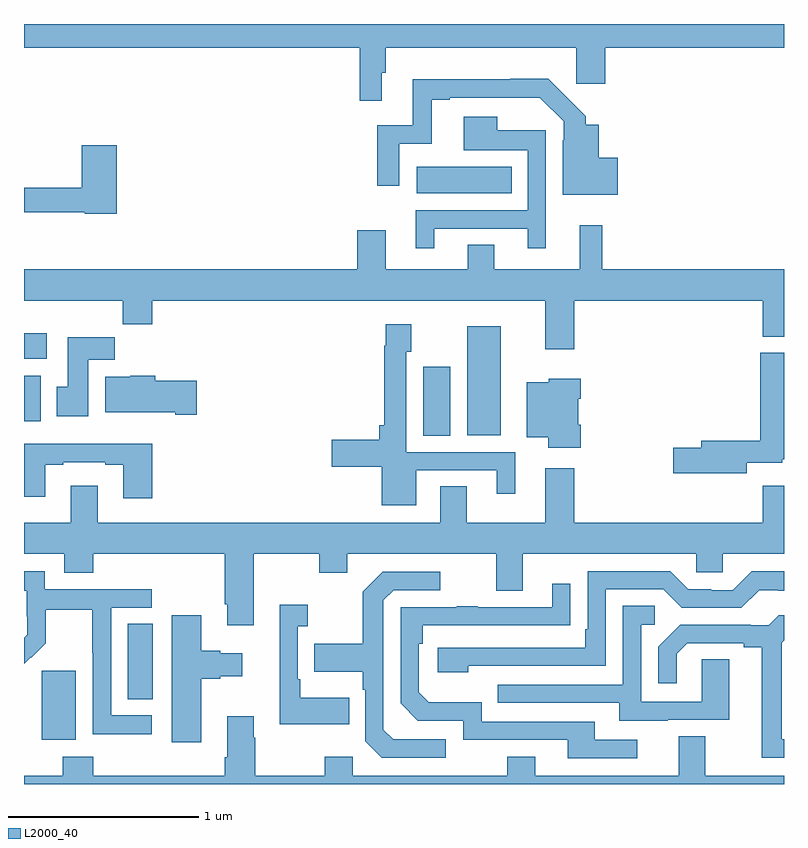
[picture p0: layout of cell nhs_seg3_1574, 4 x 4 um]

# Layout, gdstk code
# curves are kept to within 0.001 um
import gdstk
lib = gdstk.Library(unit=1e-6, precision=1e-09)
def R(c, l, rs):  # rectangles x0, y0, x1, y1
    for r in rs: c.add(gdstk.rectangle(r[:2], r[2:], *l))
def P(c, l, *ps):  # polygons
    for p in ps: c.add(gdstk.Polygon(p, *l))
L2000_40 = (2000, 40)

nhs_seg3_1574 = lib.new_cell('nhs_seg3_1574')
R(nhs_seg3_1574, L2000_40, [(193.094,670.634,193.273,670.995), (193.547,670.846,193.678,671.243), (195.101,672.232,195.244,672.595), (195.332,672.236,195.508,672.808), (193,672.308,193.087,672.55), (193,672.638,193.12,672.772), (195.066,673.508,195.566,673.648)])
P(nhs_seg3_1574, L2000_40, [(193,674.276),(194.767,674.276),(194.767,673.995),(194.884,673.995),(194.884,674.144),(194.903,674.144),(194.903,674.276),(195.907,674.276),(195.907,674.085),(196.058,674.085),(196.058,674.276),(197,674.276),(197,674.4),(193,674.4)],
  [(196.126,673.696),(196.024,673.696),(196.024,673.87),(195.956,673.87),(195.956,673.915),(195.758,674.113),(195.559,674.113),(195.559,674.11),(195.047,674.11),(195.047,673.866),(194.86,673.866),(194.86,673.548),(194.976,673.548),(194.976,673.77),(195.145,673.77),(195.145,674.001),(195.241,674.001),(195.241,674.013),(195.715,674.013),(195.84,673.887),(195.84,673.787),(195.836,673.787),(195.836,673.502),(196.126,673.502)],
  [(195.16,673.323),(195.65,673.323),(195.65,673.221),(195.747,673.221),(195.747,673.84),(195.49,673.84),(195.49,673.912),(195.314,673.912),(195.314,673.736),(195.651,673.736),(195.651,673.419),(195.062,673.419),(195.062,673.221),(195.16,673.221)],
  [(193.487,673.762),(193.304,673.762),(193.304,673.538),(193,673.538),(193,673.41),(193.32,673.41),(193.32,673.402),(193.487,673.402)],
  [(195.743,672.687),(195.896,672.687),(195.896,672.944),(196.889,672.944),(196.889,672.754),(197,672.754),(197,673.108),(196.043,673.108),(196.043,673.342),(195.926,673.342),(195.926,673.108),(195.475,673.108),(195.475,673.238),(195.335,673.238),(195.335,673.108),(194.905,673.108),(194.905,673.315),(194.753,673.315),(194.753,673.108),(193,673.108),(193,672.944),(193.519,672.944),(193.519,672.82),(193.676,672.82),(193.676,672.944),(195.743,672.944)],
  [(195.064,672.051),(195.488,672.051),(195.488,671.928),(195.586,671.928),(195.586,672.147),(195.012,672.147),(195.012,672.675),(195.039,672.675),(195.039,672.82),(194.904,672.82),(194.904,672.707),(194.896,672.707),(194.896,672.289),(194.87,672.289),(194.87,672.212),(194.619,672.212),(194.619,672.07),(194.882,672.07),(194.882,671.867),(195.064,671.867)],
  [(193.339,672.632),(193.478,672.632),(193.478,672.751),(193.229,672.751),(193.229,672.492),(193.172,672.492),(193.172,672.336),(193.339,672.336)],
  [(196.804,672.09),(196.992,672.09),(196.992,672.11),(197,672.11),(197,672.669),(196.874,672.669),(196.874,672.206),(196.565,672.206),(196.565,672.17),(196.416,672.17),(196.416,672.035),(196.804,672.035)],
  [(193.909,672.522),(193.691,672.522),(193.691,672.55),(193.56,672.55),(193.56,672.544),(193.427,672.544),(193.427,672.356),(193.796,672.356),(193.796,672.344),(193.909,672.344)],
  [(195.929,672.292),(195.916,672.292),(195.916,672.428),(195.929,672.428),(195.929,672.532),(195.762,672.532),(195.762,672.514),(195.647,672.514),(195.647,672.224),(195.758,672.224),(195.758,672.17),(195.929,672.17)],
  [(193.676,672.19),(193,672.19),(193,671.912),(193.111,671.912),(193.111,672.081),(193.207,672.081),(193.207,672.093),(193.427,672.093),(193.427,672.081),(193.523,672.081),(193.523,671.904),(193.676,671.904)],
  [(194.209,671.612),(194.554,671.612),(194.554,671.513),(194.701,671.513),(194.701,671.612),(195.485,671.612),(195.485,671.418),(195.625,671.418),(195.625,671.612),(196.539,671.612),(196.539,671.514),(196.677,671.514),(196.677,671.612),(197,671.612),(197,671.971),(196.889,671.971),(196.889,671.776),(195.896,671.776),(195.896,672.061),(195.743,672.061),(195.743,671.776),(195.331,671.776),(195.331,671.966),(195.191,671.966),(195.191,671.776),(193.387,671.776),(193.387,671.971),(193.247,671.971),(193.247,671.776),(193,671.776),(193,671.612),(193.211,671.612),(193.211,671.513),(193.364,671.513),(193.364,671.612),(194.057,671.612),(194.057,671.347),(194.069,671.347),(194.069,671.235),(194.209,671.235)],
  [(193.672,670.761),(193.458,670.761),(193.458,671.328),(193.672,671.328),(193.672,671.424),(193.11,671.424),(193.11,671.521),(193,671.521),(193,671.417),(193.014,671.417),(193.014,671.283),(193.016,671.283),(193.016,671.186),(193,671.17),(193,671.032),(193.035,671.067),(193.038,671.064),(193.115,671.141),(193.115,671.316),(193.36,671.316),(193.36,671.092),(193.362,671.092),(193.362,670.663),(193.672,670.663)],
  [(195.338,671.022),(196.062,671.022),(196.062,671.424),(196.365,671.424),(196.461,671.328),(196.776,671.328),(196.869,671.421),(196.969,671.421),(196.969,671.417),(197,671.417),(197,671.521),(196.831,671.521),(196.731,671.421),(196.616,671.421),(196.616,671.424),(196.497,671.424),(196.401,671.52),(195.966,671.52),(195.966,671.215),(195.953,671.215),(195.953,671.118),(195.177,671.118),(195.177,670.988),(195.338,670.988)],
  [(195.22,670.635),(194.943,670.635),(194.892,670.686),(194.892,671.367),(194.946,671.421),(195.19,671.421),(195.19,671.517),(194.889,671.517),(194.784,671.411),(194.784,671.139),(194.527,671.139),(194.527,670.991),(194.784,670.991),(194.784,670.895),(194.796,670.895),(194.796,670.626),(194.883,670.539),(195.22,670.539)],
  [(196.228,670.632),(196.003,670.632),(196.003,670.728),(195.408,670.728),(195.408,670.831),(195.131,670.831),(195.078,670.884),(195.078,671.138),(195.098,671.138),(195.098,671.235),(195.875,671.236),(195.875,671.455),(195.779,671.455),(195.779,671.331),(195.389,671.331),(195.389,671.336),(195.277,671.336),(195.277,671.331),(194.982,671.331),(194.982,670.824),(195.072,670.734),(195.312,670.734),(195.312,670.632),(195.863,670.632),(195.863,670.536),(196.228,670.536)],
  [(194.711,670.855),(194.455,670.855),(194.455,670.951),(194.442,670.951),(194.442,671.231),(194.494,671.231),(194.494,671.344),(194.345,671.344),(194.345,670.715),(194.711,670.715)],
  [(196.387,670.737),(196.711,670.737),(196.711,671.057),(196.566,671.057),(196.566,670.833),(196.248,670.833),(196.248,671.238),(196.321,671.238),(196.321,671.339),(196.152,671.339),(196.152,670.923),(195.493,670.923),(195.493,670.827),(196.133,670.827),(196.133,670.733),(196.387,670.733)],
  [(193.933,670.955),(194.033,670.955),(194.033,670.967),(194.149,670.967),(194.149,671.089),(194.033,671.089),(194.033,671.102),(193.933,671.102),(193.933,671.287),(193.778,671.287),(193.778,670.62),(193.933,670.62)],
  [(197,670.635),(196.987,670.635),(196.987,671.143),(197,671.156),(197,671.287),(196.972,671.287),(196.92,671.235),(196.826,671.235),(196.826,671.238),(196.454,671.238),(196.338,671.122),(196.338,670.929),(196.435,670.929),(196.435,671.085),(196.492,671.142),(196.787,671.142),(196.787,671.12),(196.883,671.12),(196.883,670.539),(197,670.539)],
  [(197,670.444),(196.585,670.444),(196.585,670.652),(196.445,670.652),(196.445,670.444),(195.691,670.444),(195.691,670.543),(195.544,670.543),(195.544,670.444),(194.73,670.444),(194.73,670.543),(194.584,670.543),(194.584,670.444),(194.217,670.444),(194.217,670.643),(194.209,670.643),(194.209,670.756),(194.069,670.756),(194.069,670.54),(194.057,670.54),(194.057,670.444),(193.364,670.444),(193.364,670.543),(193.204,670.543),(193.204,670.444),(193,670.444),(193,670.4),(197,670.4)])

lib.write_gds('nhs_seg3_1574.gds')
